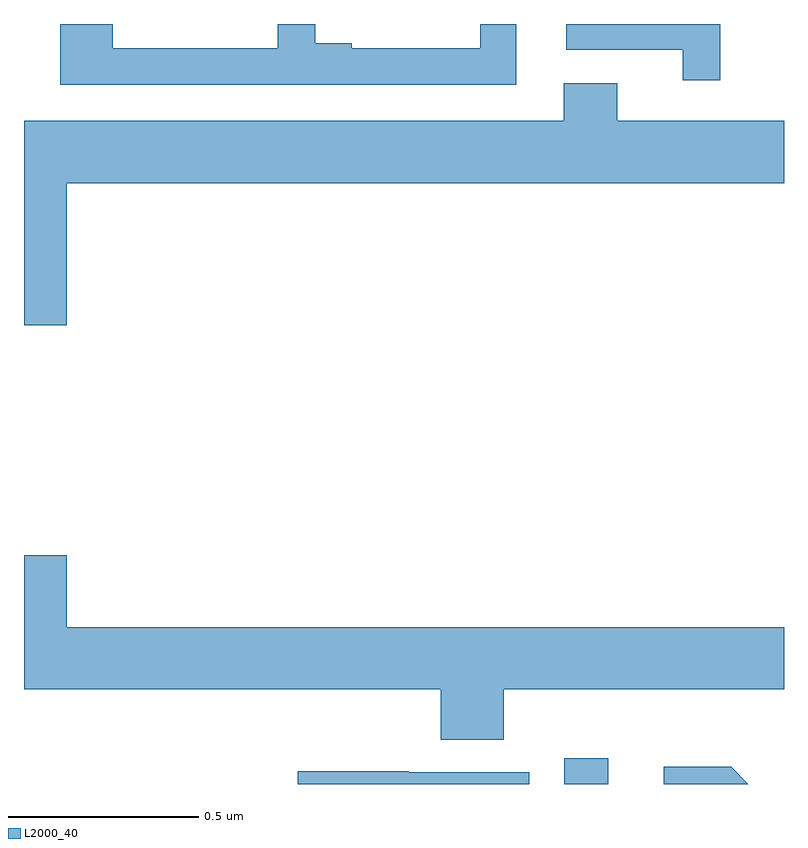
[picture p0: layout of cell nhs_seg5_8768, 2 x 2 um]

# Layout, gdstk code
import gdstk
lib = gdstk.Library(unit=1e-6, precision=1e-09)
def R(c, l, rs):  # rectangles x0, y0, x1, y1
    for r in rs: c.add(gdstk.rectangle(r[:2], r[2:], *l))
def P(c, l, *ps):  # polygons
    for p in ps: c.add(gdstk.Polygon(p, *l))
L2000_40 = (2000, 40)

nhs_seg5_8768 = lib.new_cell('nhs_seg5_8768')
R(nhs_seg5_8768, L2000_40, [(226.422,901.799,226.537,901.867)])
P(nhs_seg5_8768, L2000_40, [(226.832,903.799),(226.427,903.799),(226.427,903.731),(226.733,903.731),(226.733,903.651),(226.832,903.651)],
  [(226.296,903.799),(226.2,903.799),(226.2,903.735),(225.862,903.735),(225.862,903.748),(225.766,903.748),(225.766,903.799),(225.668,903.799),(225.668,903.735),(225.234,903.735),(225.234,903.799),(225.095,903.799),(225.095,903.639),(226.296,903.639)],
  [(225.112,903.38),(227,903.38),(227,903.544),(226.561,903.544),(226.561,903.643),(226.421,903.643),(226.421,903.544),(225,903.544),(225,903.006),(225.112,903.006)],
  [(226.262,902.048),(227,902.048),(227,902.212),(225.112,902.212),(225.112,902.401),(225,902.401),(225,902.048),(226.097,902.048),(226.097,901.915),(226.262,901.915)],
  [(226.861,901.844),(226.683,901.844),(226.683,901.799),(226.906,901.799)],
  [(226.329,901.83),(226.013,901.83),(226.013,901.832),(225.721,901.832),(225.721,901.799),(226.329,901.799)])

lib.write_gds('nhs_seg5_8768.gds')
